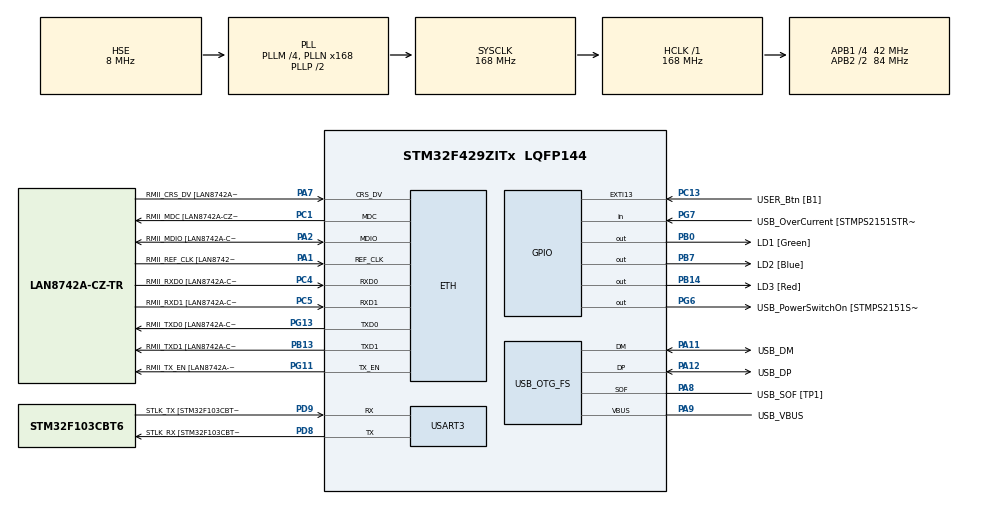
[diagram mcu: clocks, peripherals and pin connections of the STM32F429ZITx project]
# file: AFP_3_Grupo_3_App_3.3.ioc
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ETH.MediaInterface=HAL_ETH_RMII_MODE
ETH.PHY_Name=LAN8742A_PHY_ADDRESS
ETH.PHY_Value=0
ETH.PhyAddress=0
Mcu.Family=STM32F4
Mcu.Name=STM32F429ZITx
Mcu.Package=LQFP144
NVIC.PriorityGroup=NVIC_PRIORITYGROUP_4
PA1.GPIO_Label=RMII_REF_CLK [LAN8742A-CZ-TR_REFCLK0]
PA1.Mode=RMII
PA1.Signal=ETH_REF_CLK
PA10.GPIO_Label=USB_ID
PA10.Signal=USB_OTG_FS_ID
PA11.GPIO_Label=USB_DM
PA11.Mode=Device_Only
PA11.Signal=USB_OTG_FS_DM
PA12.GPIO_Label=USB_DP
PA12.Mode=Device_Only
PA12.Signal=USB_OTG_FS_DP
PA13.GPIO_Label=TMS
PA13.Mode=Serial_Wire
PA13.Signal=SYS_JTMS-SWDIO
PA14.GPIO_Label=TCK
PA14.Mode=Serial_Wire
PA14.Signal=SYS_JTCK-SWCLK
PA2.GPIO_Label=RMII_MDIO [LAN8742A-CZ-TR_MDIO]
PA2.Mode=RMII
PA2.Signal=ETH_MDIO
PA7.GPIO_Label=RMII_CRS_DV [LAN8742A-CZ-TR_CRS_DV]
PA7.Mode=RMII
PA7.Signal=ETH_CRS_DV
PA8.GPIO_Label=USB_SOF [TP1]
PA8.Mode=Activate_SOF_FS
PA8.Signal=USB_OTG_FS_SOF
PA9.GPIO_Label=USB_VBUS
PA9.Mode=Activate_VBUS
PA9.Signal=USB_OTG_FS_VBUS
PB0.GPIO_Label=LD1 [Green]
PB0.Signal=GPIO_Output
PB13.GPIO_Label=RMII_TXD1 [LAN8742A-CZ-TR_TXD1]
PB13.Mode=RMII
PB13.Signal=ETH_TXD1
PB14.GPIO_Label=LD3 [Red]
PB14.Signal=GPIO_Output
PB7.GPIO_Label=LD2 [Blue]
PB7.Signal=GPIO_Output
PC1.GPIO_Label=RMII_MDC [LAN8742A-CZ-TR_MDC]
PC1.Mode=RMII
PC1.Signal=ETH_MDC
PC13.GPIO_Label=USER_Btn [B1]
PC13.Signal=GPXTI13
PC14/OSC32_IN.Mode=LSE-External-Oscillator
PC14/OSC32_IN.Signal=RCC_OSC32_IN
PC15/OSC32_OUT.Mode=LSE-External-Oscillator
PC15/OSC32_OUT.Signal=RCC_OSC32_OUT
PC4.GPIO_Label=RMII_RXD0 [LAN8742A-CZ-TR_RXD0]
PC4.Mode=RMII
PC4.Signal=ETH_RXD0
PC5.GPIO_Label=RMII_RXD1 [LAN8742A-CZ-TR_RXD1]
PC5.Mode=RMII
PC5.Signal=ETH_RXD1
PD8.GPIO_Label=STLK_RX [STM32F103CBT6_PA3]
PD8.Mode=Asynchronous
PD8.Signal=USART3_TX
PD9.GPIO_Label=STLK_TX [STM32F103CBT6_PA2]
PD9.Mode=Asynchronous
PD9.Signal=USART3_RX
PG11.GPIO_Label=RMII_TX_EN [LAN8742A-CZ-TR_TXEN]
PG11.Mode=RMII
PG11.Signal=ETH_TX_EN
PG13.GPIO_Label=RMII_TXD0 [LAN8742A-CZ-TR_TXD0]
PG13.Mode=RMII
PG13.Signal=ETH_TXD0
PG6.GPIO_Label=USB_PowerSwitchOn [STMPS2151STR_EN]
PG6.Signal=GPIO_Output
PG7.GPIO_Label=USB_OverCurrent [STMPS2151STR_FAULT]
PG7.Signal=GPIO_Input
PH0/OSC_IN.GPIO_Label=MCO [STM32F103CBT6_PA8]
PH0/OSC_IN.Mode=HSE-External-Clock-Source
PH0/OSC_IN.Signal=RCC_OSC_IN
PH1/OSC_OUT.Mode=HSE-External-Clock-Source
PH1/OSC_OUT.Signal=RCC_OSC_OUT
ProjectManager.HeapSize=0x200
ProjectManager.StackSize=0x400
ProjectManager.TargetToolchain=STM32CubeIDE
RCC.48MHZClocksFreq_Value=48000000
RCC.AHBFreq_Value=168000000
RCC.APB1CLKDivider=RCC_HCLK_DIV4
RCC.APB1Freq_Value=42000000
RCC.APB1TimFreq_Value=84000000
RCC.APB2CLKDivider=RCC_HCLK_DIV2
RCC.APB2Freq_Value=84000000
RCC.APB2TimCLKDivider=2
RCC.APB2TimFreq_Value=168000000
RCC.CortexFreq_Value=168000000
RCC.HCLKFreq_Value=168000000
RCC.HSE_VALUE=8000000
RCC.HSI_VALUE=16000000
RCC.PLLM=4
RCC.PLLMUL=RCC_PLL_MUL9
RCC.PLLN=168
RCC.PLLQ=7
RCC.PRESCALERUSB=RCC_USBCLKSOURCE_PLL_DIV1_5
RCC.SYSCLKFreq_VALUE=168000000
RCC.SYSCLKSource=RCC_SYSCLKSOURCE_PLLCLK
RCC.SYSCLKSourceVirtual=RCC_SYSCLKSOURCE_PLLCLK
RCC.USBFreq_Value=48000000
RCC.VCOOutputFreq_Value=336000000
USART3.VirtualMode=VM_ASYNC
USB_OTG_FS.VirtualMode=Device_Only
board=NUCLEO-F429ZI

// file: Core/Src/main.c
/* USER CODE BEGIN Header */
/**
  ******************************************************************************
  * @file           : main.c
  * @brief          : Main program body
  ******************************************************************************
  * @attention
  *
  * Copyright (c) 2024 STMicroelectronics.
  * All rights reserved.
  *
  * This software is licensed under terms that can be found in the LICENSE file
  * in the root directory of this software component.
  * If no LICENSE file comes with this software, it is provided AS-IS.
  *
  ******************************************************************************
  */
/* USER CODE END Header */
#include "main.h"
#include "string.h"

/* USER CODE BEGIN Includes */

#include "API_GPIO.h"
#include "API_Delay.h"
#include "API_debounce.h"

/* USER CODE END Includes */

ETH_TxPacketConfig TxConfig;
ETH_DMADescTypeDef  DMARxDscrTab[ETH_RX_DESC_CNT]; /* Ethernet Rx DMA Descriptors */
ETH_DMADescTypeDef  DMATxDscrTab[ETH_TX_DESC_CNT]; /* Ethernet Tx DMA Descriptors */

ETH_HandleTypeDef heth;

UART_HandleTypeDef huart3;

PCD_HandleTypeDef hpcd_USB_OTG_FS;

void SystemClock_Config(void);
static void MX_ETH_Init(void);
static void MX_USART3_UART_Init(void);
static void MX_USB_OTG_FS_PCD_Init(void);

int main(void)
{

  /* MCU Configuration--------------------------------------------------------*/

  /* Reset of all peripherals, Initializes the Flash interface and the Systick. */
  HAL_Init();

  /* Configure the system clock */
  SystemClock_Config();

  /* Initialize all configured peripherals */
  MX_GPIO_Init();
  MX_ETH_Init();
  MX_USART3_UART_Init();
  MX_USB_OTG_FS_PCD_Init();
  /* USER CODE BEGIN 2 */

  uint16_t vector_Pin_LEDs[CANTIDAD_LEDS] = {LD1_Pin, LD2_Pin, LD3_Pin};  //Vector que contiene los pines de los leds
  uint8_t secuencia_actual = 0;	// variable que indica que secuencia se esta ejecutando, sus valores van entre 1 y 4.

  /* Aqui se crea los elementos de tipo delay_t que se utilizaran para controlar los distintos delays de las secuencias */
  delay_t timer_secuencia1;
  delay_t timer_secuencia2;
  delay_t timer_secuencia3_led1;
  delay_t timer_secuencia3_led2;
  delay_t timer_secuencia3_led3;//en la secuencia 3, hay varios elementos delay_t debido a que cada led tiene un delay de distinto tiempo
  delay_t timer_secuencia4;

  /* Aqui se establece el tiempo de duracion de cada delay*/
  delayInit(&timer_secuencia1, 150);
  delayInit(&timer_secuencia2, 300);
  delayInit(&timer_secuencia3_led1, 100);
  delayInit(&timer_secuencia3_led2, 300);
  delayInit(&timer_secuencia3_led3, 600);
  delayInit(&timer_secuencia4, 150);

  /* Variables para el manejo de los led de cada secuencia */
  uint8_t led_actual = 0;
  bool_t estado_led = false; // Almacena en que fase de la secuencia se encuentra el led. true-> Encendido, false-> Apagado.

  debounceFSM_Init();

  /* USER CODE END 2 */

  /* Infinite loop */
  /* USER CODE BEGIN WHILE */
  while (1)
  {
	  debounceFSM_Update();
	  if(readKey()){
		  switch(secuencia_actual){
			  case 0:
				  for(int i=0;i<CANTIDAD_LEDS;i++){
					  writeLedOff_GPIO(vector_Pin_LEDs[i]);
				  }
				  secuencia_actual += 1;
				  break;
			  case 1:
				  for(int i=0;i<CANTIDAD_LEDS;i++){
					  writeLedOff_GPIO(vector_Pin_LEDs[i]);
				  }
				  secuencia_actual += 1;
				  break;
			  case 2:
				  for(int i=0;i<CANTIDAD_LEDS;i++){
					  if(i%2){
						  writeLedOn_GPIO(vector_Pin_LEDs[i]);
					  }else{
						  writeLedOff_GPIO(vector_Pin_LEDs[i]);
					  }
				  }
				  secuencia_actual += 1;
				  break;
			  case 3:
				  for(int i=0;i<CANTIDAD_LEDS;i++){
					  writeLedOff_GPIO(vector_Pin_LEDs[i]);
				  }
				  secuencia_actual = 0;
				  break;
			  default:
				  for(int i=0;i<CANTIDAD_LEDS;i++){
					  if(i%2){
						  writeLedOff_GPIO(vector_Pin_LEDs[i]);
					  }else{
						  writeLedOn_GPIO(vector_Pin_LEDs[i]);
					  }
				  }
				  writeLedOn_GPIO(LD2_Pin);
				  break;
		  }
	  }

	  switch(secuencia_actual){
		  case 0:
			  if(delayRead(&timer_secuencia1)){
				  if(estado_led){
					  writeLedOff_GPIO(vector_Pin_LEDs[led_actual]);

					  /* Seleccionar el siguiente led de la secuencia*/
					  if(led_actual == (CANTIDAD_LEDS-1)){
						  led_actual = 0;
					  }else{
						  led_actual++;
					  }

					  estado_led = false;
				  }else{
					  writeLedOn_GPIO(vector_Pin_LEDs[led_actual]);
					  estado_led = true;
				  }
			  }
			  break;
		  case 1:
			  if(delayRead(&timer_secuencia2)){
				  if(estado_led){
					  for(int i=0;i<CANTIDAD_LEDS;i++){
						  writeLedOff_GPIO(vector_Pin_LEDs[i]);
					  }
					  estado_led = false;
				  }else{
					  for(int i=0;i<CANTIDAD_LEDS;i++){
						  writeLedOn_GPIO(vector_Pin_LEDs[i]);
					  }
					  estado_led = true;
				  }
			  }
			  break;
		  case 2:
			  if(delayRead(&timer_secuencia3_led1)){
				  toggleLed_GPIO(vector_Pin_LEDs[0]);
			  }
			  if(delayRead(&timer_secuencia3_led2)){
				  toggleLed_GPIO(vector_Pin_LEDs[1]);
			  }
			  if(delayRead(&timer_secuencia3_led3)){
				  toggleLed_GPIO(vector_Pin_LEDs[2]);
			  }
			  break;
		  case 3:
			  if(delayRead(&timer_secuencia4)){
				  if(estado_led){
					  for(int i=0;i<CANTIDAD_LEDS;i++){
						  toggleLed_GPIO(vector_Pin_LEDs[i]);
					  }
					  estado_led = false;
				  }else{
					  for(int i=0;i<CANTIDAD_LEDS;i++){
						  toggleLed_GPIO(vector_Pin_LEDs[i]);
					  }
					  estado_led = true;
				  }
			  }
			  break;
		  default:
			  break;
	  }

    /* USER CODE END WHILE */

  }
}

void SystemClock_Config(void)
{
  RCC_OscInitTypeDef RCC_OscInitStruct = {0};
  RCC_ClkInitTypeDef RCC_ClkInitStruct = {0};

  /** Configure the main internal regulator output voltage
  */
  __HAL_RCC_PWR_CLK_ENABLE();
  __HAL_PWR_VOLTAGESCALING_CONFIG(PWR_REGULATOR_VOLTAGE_SCALE1);

  /** Initializes the RCC Oscillators according to the specified parameters
  * in the RCC_OscInitTypeDef structure.
  */
  RCC_OscInitStruct.OscillatorType = RCC_OSCILLATORTYPE_HSE;
  RCC_OscInitStruct.HSEState = RCC_HSE_BYPASS;
  RCC_OscInitStruct.PLL.PLLState = RCC_PLL_ON;
  RCC_OscInitStruct.PLL.PLLSource = RCC_PLLSOURCE_HSE;
  RCC_OscInitStruct.PLL.PLLM = 4;
  RCC_OscInitStruct.PLL.PLLN = 168;
  RCC_OscInitStruct.PLL.PLLP = RCC_PLLP_DIV2;
  RCC_OscInitStruct.PLL.PLLQ = 7;
  if (HAL_RCC_OscConfig(&RCC_OscInitStruct) != HAL_OK)
  {
    Error_Handler();
  }

  /** Initializes the CPU, AHB and APB buses clocks
  */
  RCC_ClkInitStruct.ClockType = RCC_CLOCKTYPE_HCLK|RCC_CLOCKTYPE_SYSCLK
                              |RCC_CLOCKTYPE_PCLK1|RCC_CLOCKTYPE_PCLK2;
  RCC_ClkInitStruct.SYSCLKSource = RCC_SYSCLKSOURCE_PLLCLK;
  RCC_ClkInitStruct.AHBCLKDivider = RCC_SYSCLK_DIV1;
  RCC_ClkInitStruct.APB1CLKDivider = RCC_HCLK_DIV4;
  RCC_ClkInitStruct.APB2CLKDivider = RCC_HCLK_DIV2;

  if (HAL_RCC_ClockConfig(&RCC_ClkInitStruct, FLASH_LATENCY_5) != HAL_OK)
  {
    Error_Handler();
  }
}

static void MX_ETH_Init(void)
{

   static uint8_t MACAddr[6];

  heth.Instance = ETH;
  MACAddr[0] = 0x00;
  MACAddr[1] = 0x80;
  MACAddr[2] = 0xE1;
  MACAddr[3] = 0x00;
  MACAddr[4] = 0x00;
  MACAddr[5] = 0x00;
  heth.Init.MACAddr = &MACAddr[0];
  heth.Init.MediaInterface = HAL_ETH_RMII_MODE;
  heth.Init.TxDesc = DMATxDscrTab;
  heth.Init.RxDesc = DMARxDscrTab;
  heth.Init.RxBuffLen = 1524;

  if (HAL_ETH_Init(&heth) != HAL_OK)
  {
    Error_Handler();
  }

  memset(&TxConfig, 0 , sizeof(ETH_TxPacketConfig));
  TxConfig.Attributes = ETH_TX_PACKETS_FEATURES_CSUM | ETH_TX_PACKETS_FEATURES_CRCPAD;
  TxConfig.ChecksumCtrl = ETH_CHECKSUM_IPHDR_PAYLOAD_INSERT_PHDR_CALC;
  TxConfig.CRCPadCtrl = ETH_CRC_PAD_INSERT;

}

static void MX_USART3_UART_Init(void)
{

  huart3.Instance = USART3;
  huart3.Init.BaudRate = 115200;
  huart3.Init.WordLength = UART_WORDLENGTH_8B;
  huart3.Init.StopBits = UART_STOPBITS_1;
  huart3.Init.Parity = UART_PARITY_NONE;
  huart3.Init.Mode = UART_MODE_TX_RX;
  huart3.Init.HwFlowCtl = UART_HWCONTROL_NONE;
  huart3.Init.OverSampling = UART_OVERSAMPLING_16;
  if (HAL_UART_Init(&huart3) != HAL_OK)
  {
    Error_Handler();
  }

}

static void MX_USB_OTG_FS_PCD_Init(void)
{

  hpcd_USB_OTG_FS.Instance = USB_OTG_FS;
  hpcd_USB_OTG_FS.Init.dev_endpoints = 4;
  hpcd_USB_OTG_FS.Init.speed = PCD_SPEED_FULL;
  hpcd_USB_OTG_FS.Init.dma_enable = DISABLE;
  hpcd_USB_OTG_FS.Init.phy_itface = PCD_PHY_EMBEDDED;
  hpcd_USB_OTG_FS.Init.Sof_enable = ENABLE;
  hpcd_USB_OTG_FS.Init.low_power_enable = DISABLE;
  hpcd_USB_OTG_FS.Init.lpm_enable = DISABLE;
  hpcd_USB_OTG_FS.Init.vbus_sensing_enable = ENABLE;
  hpcd_USB_OTG_FS.Init.use_dedicated_ep1 = DISABLE;
  if (HAL_PCD_Init(&hpcd_USB_OTG_FS) != HAL_OK)
  {
    Error_Handler();
  }

}

void Error_Handler(void)
{
  __disable_irq();
  while (1)
  {
  }
}
